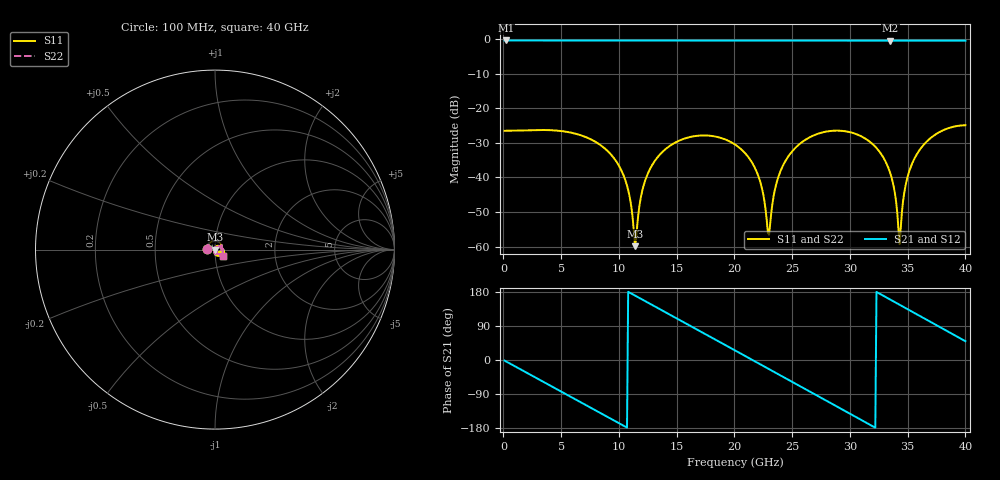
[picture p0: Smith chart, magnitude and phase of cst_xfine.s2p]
! thru_s8_L1: 2×thru, L1, 8 mm
! stackup: 8-layer 1.6 mm FR-4 (generic)
! ports: 1, 2
! CST Studio Suite 2025.5 Release from 2025-05-30, time domain (FIT, hexahedral, PBA), 473688 mesh cells, 74 s
! mesh: {'lpw': 40.0, 'lpb': 40.0, 'minstep': 0.0, 'ratio': 20}; ports: port 1 (face); port 2 (face)
! interpolated from CST's 1001 samples to the case grid
# Hz S RI R 50
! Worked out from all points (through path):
!   400 points, 100 MHz to 40 GHz, reference 50 ohm
!   highest |S21| = -0.42 dB at 200 MHz (marker M1); lowest = -0.5 dB at 33.5 GHz (marker M2)
!   group delay of S21, straight-line fit = 46.5 ps
!   lowest |S11| = -59.9 dB at 11.4 GHz (marker M3), VSWR 1.00, Z = 49.9 - j0.0374 ohm
!   |S11| at or under -10 dB: start of sweep to end of sweep
!   |S22| runs from -59.9 to -24.9 dB; largest |S21 - S12| = 5e-07
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1e8  -0.0471 0.00229  0.952 -0.0278  0.952 -0.0278  -0.0471 0.00229
2e8  -0.047 0.00457  0.9508 -0.0555  0.9508 -0.0555  -0.047 0.00457
3.8e9  0.00858 0.0476  0.4256 -0.8506  0.4256 -0.8506  0.00858 0.0476
6.8e9  0.0393 0.00826  -0.3771 -0.8714  -0.3771 -0.8714  0.0393 0.00826
1.02e10  0.00642 -0.011  -0.9347 -0.1643  -0.9347 -0.1643  0.00642 -0.011
1.1e10  0.000518 -0.00448  -0.9475 0.0558  -0.9475 0.0558  0.000518 -0.00448
1.14e10  -0.000944 -0.000374  -0.9347 0.1655  -0.9347 0.1655  -0.000944 -0.000374
1.21e10  -0.000819 0.00721  -0.8819 0.3514  -0.8819 0.3514  -0.000819 0.00721
1.34e10  0.0078 0.0185  -0.6894 0.6527  -0.6894 0.6527  0.0078 0.0185
1.67e10  0.0396 0.0036  0.142 0.9383  0.142 0.9383  0.0396 0.0036
2.01e10  0.0161 -0.0247  0.8626 0.3933  0.8626 0.3933  0.0161 -0.0247
2.2e10  -0.000999 -0.0112  0.9402 -0.1204  0.9402 -0.1204  -0.000999 -0.0112
2.3e10  -0.00125 0.000813  0.8656 -0.3864  0.8656 -0.3864  -0.00125 0.000813
2.41e10  0.00658 0.0119  0.6989 -0.6405  0.6989 -0.6405  0.00658 0.0119
2.67e10  0.0385 0.00793  0.0633 -0.9459  0.0633 -0.9459  0.0385 0.00793
3.04e10  0.0255 -0.0348  -0.8068 -0.4959  -0.8068 -0.4959  0.0255 -0.0348
3.34e10  -0.00425 -0.012  -0.8952 0.3068  -0.8952 0.3068  -0.00425 -0.012
3.35e10  -0.00423 -0.0106  -0.8858 0.333  -0.8858 0.333  -0.00423 -0.0106
3.43e10  -0.000942 0.000539  -0.7838 0.5303  -0.7838 0.5303  -0.000942 0.000539
3.48e10  0.00372 0.00636  -0.6977 0.6395  -0.6977 0.6395  0.00372 0.00636
3.57e10  0.0158 0.0127  -0.5059 0.8001  -0.5059 0.8001  0.0158 0.0127
4e10  0.0449 -0.0347  0.6146 0.7201  0.6146 0.7201  0.0449 -0.0347
